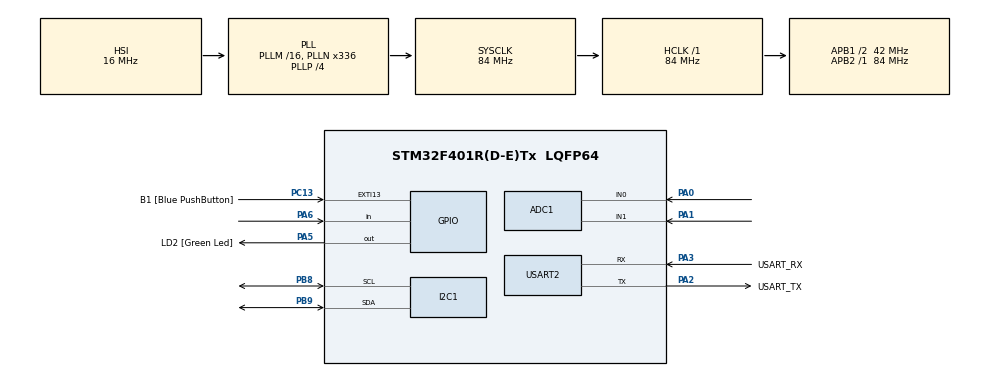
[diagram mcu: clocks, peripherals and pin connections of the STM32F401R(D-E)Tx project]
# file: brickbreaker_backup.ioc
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ADC1.Channel-0\#ChannelRegularConversion=ADC_CHANNEL_0
ADC1.Channel-2\#ChannelRegularConversion=ADC_CHANNEL_1
ADC1.ClockPrescaler=ADC_CLOCK_SYNC_PCLK_DIV8
ADC1.ContinuousConvMode=ENABLE
ADC1.DMAContinuousRequests=ENABLE
ADC1.EOCSelection=ADC_EOC_SEQ_CONV
ADC1.NbrOfConversion=2
ADC1.NbrOfConversionFlag=1
ADC1.Rank-0\#ChannelRegularConversion=1
ADC1.Rank-2\#ChannelRegularConversion=2
ADC1.SamplingTime-0\#ChannelRegularConversion=ADC_SAMPLETIME_480CYCLES
ADC1.SamplingTime-2\#ChannelRegularConversion=ADC_SAMPLETIME_480CYCLES
ADC1.ScanConvMode=ENABLE
ADC1.master=1
Dma.ADC1.0.Direction=DMA_PERIPH_TO_MEMORY
Dma.ADC1.0.FIFOMode=DMA_FIFOMODE_DISABLE
Dma.ADC1.0.Instance=DMA2_Stream0
Dma.ADC1.0.MemDataAlignment=DMA_MDATAALIGN_HALFWORD
Dma.ADC1.0.MemInc=DMA_MINC_ENABLE
Dma.ADC1.0.Mode=DMA_CIRCULAR
Dma.ADC1.0.PeriphDataAlignment=DMA_PDATAALIGN_HALFWORD
Dma.ADC1.0.PeriphInc=DMA_PINC_DISABLE
Dma.ADC1.0.Priority=DMA_PRIORITY_HIGH
Dma.Request0=ADC1
FREERTOS.Tasks01=defaultTask,24,128,StartDefaultTask,Default,NULL,Dynamic,NULL,NULL;InputTask,40,256,StartInputTask,Default,NULL,Dynamic,NULL,NULL;GameTask,24,512,StartGameTask,Default,NULL,Dynamic,NULL,NULL;RenderTask,8,512,StartLowPriorityTask,Default,NULL,Dynamic,NULL,NULL
FREERTOS.configUSE_NEWLIB_REENTRANT=1
I2C1.I2C_Mode=I2C_Fast
Mcu.Family=STM32F4
Mcu.Name=STM32F401R(D-E)Tx
Mcu.Package=LQFP64
NVIC.DMA2_Stream0_IRQn=true\:5\:0\:false\:false\:true\:true\:false\:true\:true
NVIC.PriorityGroup=NVIC_PRIORITYGROUP_4
NVIC.TIM2_IRQn=true\:15\:0\:false\:false\:true\:false\:false\:true\:true
NVIC.TimeBase=TIM2_IRQn
NVIC.TimeBaseIP=TIM2
PA0-WKUP.Signal=ADCx_IN0
PA1.Signal=ADCx_IN1
PA13.GPIO_Label=TMS
PA13.Mode=Trace_Asynchronous_SW
PA13.Signal=SYS_JTMS-SWDIO
PA14.GPIO_Label=TCK
PA14.Mode=Trace_Asynchronous_SW
PA14.Signal=SYS_JTCK-SWCLK
PA2.GPIO_Label=USART_TX
PA2.GPIO_Mode=GPIO_MODE_AF_PP
PA2.GPIO_PuPd=GPIO_NOPULL
PA2.GPIO_Speed=GPIO_SPEED_FREQ_LOW
PA2.Mode=Asynchronous
PA2.Signal=USART2_TX
PA3.GPIO_Label=USART_RX
PA3.GPIO_Mode=GPIO_MODE_AF_PP
PA3.GPIO_PuPd=GPIO_NOPULL
PA3.GPIO_Speed=GPIO_SPEED_FREQ_LOW
PA3.Mode=Asynchronous
PA3.Signal=USART2_RX
PA5.GPIO_Label=LD2 [Green Led]
PA5.GPIO_Mode=GPIO_MODE_OUTPUT_PP
PA5.GPIO_PuPd=GPIO_NOPULL
PA5.GPIO_Speed=GPIO_SPEED_FREQ_LOW
PA5.Signal=GPIO_Output
PA6.GPIO_PuPd=GPIO_PULLUP
PA6.Signal=GPIO_Input
PB3.GPIO_Label=SWO
PB3.Mode=Trace_Asynchronous_SW
PB3.Signal=SYS_JTDO-SWO
PB8.Mode=I2C
PB8.Signal=I2C1_SCL
PB9.Mode=I2C
PB9.Signal=I2C1_SDA
PC13-ANTI_TAMP.GPIO_Label=B1 [Blue PushButton]
PC13-ANTI_TAMP.GPIO_ModeDefaultEXTI=GPIO_MODE_IT_FALLING
PC13-ANTI_TAMP.GPIO_PuPd=GPIO_NOPULL
PC13-ANTI_TAMP.Signal=GPXTI13
PC14-OSC32_IN.Mode=LSE-External-Oscillator
PC14-OSC32_IN.Signal=RCC_OSC32_IN
PC15-OSC32_OUT.Mode=LSE-External-Oscillator
PC15-OSC32_OUT.Signal=RCC_OSC32_OUT
PH0\ -\ OSC_IN.Mode=HSE-External-Clock-Source
PH0\ -\ OSC_IN.Signal=RCC_OSC_IN
PH1\ -\ OSC_OUT.Mode=HSE-External-Clock-Source
PH1\ -\ OSC_OUT.Signal=RCC_OSC_OUT
ProjectManager.HeapSize=0x200
ProjectManager.StackSize=0x400
ProjectManager.TargetToolchain=STM32CubeIDE
RCC.48MHZClocksFreq_Value=48000000
RCC.AHBFreq_Value=84000000
RCC.APB1CLKDivider=RCC_HCLK_DIV2
RCC.APB1Freq_Value=42000000
RCC.APB1TimFreq_Value=84000000
RCC.APB2Freq_Value=84000000
RCC.APB2TimFreq_Value=84000000
RCC.CortexFreq_Value=84000000
RCC.HCLKFreq_Value=84000000
RCC.HSE_VALUE=8000000
RCC.HSI_VALUE=16000000
RCC.PLLN=336
RCC.PLLP=RCC_PLLP_DIV4
RCC.PLLQ=7
RCC.SYSCLKFreq_VALUE=84000000
RCC.SYSCLKSource=RCC_SYSCLKSOURCE_PLLCLK
RCC.VCOOutputFreq_Value=336000000
SH.ADCx_IN0.0=ADC1_IN0,IN0
SH.ADCx_IN1.0=ADC1_IN1,IN1
USART2.VirtualMode=VM_ASYNC
VP_FREERTOS_VS_CMSIS_V2.Mode=CMSIS_V2
VP_SYS_VS_tim2.Mode=TIM2
board=NUCLEO-F401RE

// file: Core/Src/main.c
/* USER CODE BEGIN Header */
/**
 ******************************************************************************
 * @file           : main.c
 * @brief          : Main program body
 ******************************************************************************
 * @attention
 *
 * Copyright (c) 2026 STMicroelectronics.
 * All rights reserved.
 *
 * This software is licensed under terms that can be found in the LICENSE file
 * in the root directory of this software component.
 * If no LICENSE file comes with this software, it is provided AS-IS.
 *
 ******************************************************************************
 */
/* USER CODE END Header */
#include "main.h"
#include "cmsis_os.h"

/* USER CODE BEGIN Includes */
#include "ssd1306.h"
#include "ssd1306_fonts.h"
#include "FreeRTOS.h"
#include "task.h"
#include <math.h>
#include <stdio.h>
#include "SEGGER_SYSVIEW.h"
#include "SEGGER_SYSVIEW_Conf.h"

/* USER CODE END Includes */

/* USER CODE BEGIN BRICK_TYPES */
// ---------- Bricks (HP-based, 1/2/3-hit) ----------
#define BRICK_W      14
#define BRICK_H      6
#define BRICKS_MAX   40

typedef struct {
  uint8_t alive;
  uint8_t hp;     // 1,2,3 hits
  uint8_t x, y;   // top-left
} Brick;
/* USER CODE END BRICK_TYPES */
ADC_HandleTypeDef hadc1;
DMA_HandleTypeDef hdma_adc1;

I2C_HandleTypeDef hi2c1;

UART_HandleTypeDef huart2;

/* Definitions for defaultTask */
osThreadId_t defaultTaskHandle;
const osThreadAttr_t defaultTask_attributes = { .name = "defaultTask",
		.stack_size = 128 * 4, .priority = (osPriority_t) osPriorityNormal, };
/* Definitions for InputTask */
osThreadId_t InputTaskHandle;
const osThreadAttr_t InputTask_attributes = {
    .name = "InputTask",
    .stack_size = 256 * 4,
    .priority = (osPriority_t) osPriorityHigh,
};

/* Definitions for GameTask */
osThreadId_t GameTaskHandle;
const osThreadAttr_t GameTask_attributes = {
    .name = "GameTask",
    .stack_size = 512 * 4,
    .priority = (osPriority_t) osPriorityNormal,
};

/* Definitions for RenderTask */
osThreadId_t RenderTaskHandle;
const osThreadAttr_t RenderTask_attributes = {
    .name = "RenderTask",
    .stack_size = 512 * 4,
    .priority = (osPriority_t) osPriorityLow,
};

/* Definitions for InitTask */
osThreadId_t InitTaskHandle;
const osThreadAttr_t InitTask_attributes = { .name = "InitTask", .stack_size =
		256 * 4, .priority = (osPriority_t) osPriorityHigh, };
/* Definitions for MediumPriorityT */
osThreadId_t MediumPriorityTHandle;
const osThreadAttr_t MediumPriorityT_attributes = { .name = "MediumPriorityT",
		.stack_size = 256 * 4, .priority = (osPriority_t) osPriorityNormal, };
/* Definitions for LowPriorityTask */
osThreadId_t LowPriorityTaskHandle;
const osThreadAttr_t LowPriorityTask_attributes = { .name = "LowPriorityTask",
		.stack_size = 256 * 4, .priority = (osPriority_t) osPriorityLow, };

/* USER CODE BEGIN PV */
#define DWT_CTRL (*(volatile uint32_t*)0xE0001000)

static uint16_t adc_raw[2];          // [0]=VRX(PA0), [1]=VRY(PA1)
static float joy_x_f = 2048.0f;      // filtered joystick X (0..4095)
// ---- RTOS IPC objects ----
typedef struct {
  uint16_t joy_adc_x;
  uint8_t  sw_pressed;
} InputMsg_t;

static osMessageQueueId_t inputQ;   // Queue: InputTask -> GameTask
static osSemaphoreId_t frameSem;    // Semaphore: GameTask -> RenderTask
static osMutexId_t viewMutex;       // Mutex: protect shared view/state

/* ---------- Game internal state (owned by GameTask) ---------- */
static const int MAX_LEVEL = 6;

static int g_level = 1;
static int g_lives = 5;
static int g_score = 0;

static uint8_t g_game_started = 0;

static int g_paddle_w0 = 24;     // Level 1 width
static int g_paddle_w  = 24;
static int g_paddle_x  = 0;
static const int g_paddle_h = 3;
static const int g_paddle_y = 60;

static float g_ball_x = 64.0f;
static float g_ball_y = 58.0f;
static float g_ball_vx = 0.0f;
static float g_ball_vy = 0.0f;
static uint8_t g_ball_launched = 0;

static uint8_t g_level_cleared = 0;
static uint8_t g_game_over = 0;
static uint8_t g_game_complete = 0;
static int g_final_lives = 0;

/* Ball tuning */
static const float BASE_SPEED = 1.0f;
static const float MAX_VX = 2.4f;
static const float MIN_VY = 1.0f;

/* ---------- Shared view for rendering (protected by viewMutex) ---------- */
typedef enum {
  VIEW_START = 0,
  VIEW_PLAY,
  VIEW_LEVEL_CLEAR,
  VIEW_GAME_OVER,
  VIEW_GAME_COMPLETE
} GameViewScreen_t;

typedef struct {
  GameViewScreen_t screen;

  int level;
  int lives;
  int score;

  int paddle_x;
  int paddle_w;

  float ball_x;
  float ball_y;

  Brick bricks[BRICKS_MAX];
  int bricks_count;
} GameView_t;

static GameView_t g_view;

/* USER CODE END PV */

void SystemClock_Config(void);
static void MX_GPIO_Init(void);
static void MX_DMA_Init(void);
static void MX_USART2_UART_Init(void);
static void MX_ADC1_Init(void);
static void MX_I2C1_Init(void);
void StartDefaultTask(void *argument);
void StartInitTask(void *argument);
void StartMediumPriorityTask(void *argument);
void StartLowPriorityTask(void *argument);
void StartInputTask(void *argument);
void StartGameTask(void *argument);
void StartRenderTask(void *argument);

int main(void) {

	/* MCU Configuration--------------------------------------------------------*/

	/* Reset of all peripherals, Initializes the Flash interface and the Systick. */
	HAL_Init();

	/* Configure the system clock */
	SystemClock_Config();

	/* Initialize all configured peripherals */
	MX_GPIO_Init();
	MX_DMA_Init();
	MX_USART2_UART_Init();
	MX_ADC1_Init();
	MX_I2C1_Init();
	/* USER CODE BEGIN 2 */
	SEGGER_UART_init(500000);

	CoreDebug->DEMCR |= CoreDebug_DEMCR_TRCENA_Msk;
	DWT->CYCCNT = 0;
	DWT->CTRL |= DWT_CTRL_CYCCNTENA_Msk;

	NVIC_SetPriorityGrouping(0);
	SEGGER_SYSVIEW_Conf();

	//SEGGER_SYSVIEW_Start();

	// Start ADC + DMA for joystick (2 channels: X, Y)
	HAL_ADC_Start_DMA(&hadc1, (uint32_t*)adc_raw, 2);

	// OLED boot screen (Option B)
	ssd1306_Init();
	ssd1306_Fill(Black);
	ssd1306_SetCursor(0, 0);
	ssd1306_WriteString("BOOT", Font_11x18, White);
	ssd1306_UpdateScreen();

	/* USER CODE END 2 */

	/* Init scheduler */
	osKernelInitialize();

	/* USER CODE BEGIN RTOS_MUTEX */
	viewMutex = osMutexNew(NULL);
	/* USER CODE END RTOS_MUTEX */

	/* USER CODE BEGIN RTOS_SEMAPHORES */
	frameSem = osSemaphoreNew(1, 0, NULL); // max=1, initial=0 (render waits)
	/* USER CODE END RTOS_SEMAPHORES */

	/* USER CODE BEGIN RTOS_QUEUES */
	inputQ = osMessageQueueNew(8, sizeof(InputMsg_t), NULL); // 8 msgs deep
	/* USER CODE END RTOS_QUEUES */
	if (viewMutex == NULL || frameSem == NULL || inputQ == NULL) {
	  Error_Handler();
	}

	/* Create the thread(s) */
	InputTaskHandle  = osThreadNew(StartInputTask,  NULL, &InputTask_attributes);
	GameTaskHandle   = osThreadNew(StartGameTask,   NULL, &GameTask_attributes);
	RenderTaskHandle = osThreadNew(StartRenderTask, NULL, &RenderTask_attributes);

	/* creation of InitTask */
	//InitTaskHandle = osThreadNew(StartInitTask, NULL, &InitTask_attributes);

	/* creation of MediumPriorityT */
	//MediumPriorityTHandle = osThreadNew(StartMediumPriorityTask, NULL, &MediumPriorityT_attributes);

	/* creation of LowPriorityTask */
	//LowPriorityTaskHandle = osThreadNew(StartLowPriorityTask, NULL, &LowPriorityTask_attributes);

	/* Start scheduler */
	osKernelStart();

	/* We should never get here as control is now taken by the scheduler */

	/* Infinite loop */
	while (1) {

	}
}

void SystemClock_Config(void) {
	RCC_OscInitTypeDef RCC_OscInitStruct = { 0 };
	RCC_ClkInitTypeDef RCC_ClkInitStruct = { 0 };

	/** Configure the main internal regulator output voltage
	 */
	__HAL_RCC_PWR_CLK_ENABLE();
	__HAL_PWR_VOLTAGESCALING_CONFIG(PWR_REGULATOR_VOLTAGE_SCALE2);

	/** Initializes the RCC Oscillators according to the specified parameters
	 * in the RCC_OscInitTypeDef structure.
	 */
	RCC_OscInitStruct.OscillatorType = RCC_OSCILLATORTYPE_HSI;
	RCC_OscInitStruct.HSIState = RCC_HSI_ON;
	RCC_OscInitStruct.HSICalibrationValue = RCC_HSICALIBRATION_DEFAULT;
	RCC_OscInitStruct.PLL.PLLState = RCC_PLL_ON;
	RCC_OscInitStruct.PLL.PLLSource = RCC_PLLSOURCE_HSI;
	RCC_OscInitStruct.PLL.PLLM = 16;
	RCC_OscInitStruct.PLL.PLLN = 336;
	RCC_OscInitStruct.PLL.PLLP = RCC_PLLP_DIV4;
	RCC_OscInitStruct.PLL.PLLQ = 7;
	if (HAL_RCC_OscConfig(&RCC_OscInitStruct) != HAL_OK) {
		Error_Handler();
	}

	/** Initializes the CPU, AHB and APB buses clocks
	 */
	RCC_ClkInitStruct.ClockType = RCC_CLOCKTYPE_HCLK | RCC_CLOCKTYPE_SYSCLK
			| RCC_CLOCKTYPE_PCLK1 | RCC_CLOCKTYPE_PCLK2;
	RCC_ClkInitStruct.SYSCLKSource = RCC_SYSCLKSOURCE_PLLCLK;
	RCC_ClkInitStruct.AHBCLKDivider = RCC_SYSCLK_DIV1;
	RCC_ClkInitStruct.APB1CLKDivider = RCC_HCLK_DIV2;
	RCC_ClkInitStruct.APB2CLKDivider = RCC_HCLK_DIV1;

	if (HAL_RCC_ClockConfig(&RCC_ClkInitStruct, FLASH_LATENCY_2) != HAL_OK) {
		Error_Handler();
	}
}

static void MX_ADC1_Init(void) {

	ADC_ChannelConfTypeDef sConfig = { 0 };

	/** Configure the global features of the ADC (Clock, Resolution, Data Alignment and number of conversion)
	 */
	hadc1.Instance = ADC1;
	hadc1.Init.ClockPrescaler = ADC_CLOCK_SYNC_PCLK_DIV8;
	hadc1.Init.Resolution = ADC_RESOLUTION_12B;
	hadc1.Init.ScanConvMode = ENABLE;
	hadc1.Init.ContinuousConvMode = ENABLE;
	hadc1.Init.DiscontinuousConvMode = DISABLE;
	hadc1.Init.ExternalTrigConvEdge = ADC_EXTERNALTRIGCONVEDGE_NONE;
	hadc1.Init.ExternalTrigConv = ADC_SOFTWARE_START;
	hadc1.Init.DataAlign = ADC_DATAALIGN_RIGHT;
	hadc1.Init.NbrOfConversion = 2;
	hadc1.Init.DMAContinuousRequests = ENABLE;
	hadc1.Init.EOCSelection = ADC_EOC_SEQ_CONV;
	if (HAL_ADC_Init(&hadc1) != HAL_OK) {
		Error_Handler();
	}

	/** Configure for the selected ADC regular channel its corresponding rank in the sequencer and its sample time.
	 */
	sConfig.Channel = ADC_CHANNEL_0;
	sConfig.Rank = 1;
	sConfig.SamplingTime = ADC_SAMPLETIME_480CYCLES;
	if (HAL_ADC_ConfigChannel(&hadc1, &sConfig) != HAL_OK) {
		Error_Handler();
	}

	/** Configure for the selected ADC regular channel its corresponding rank in the sequencer and its sample time.
	 */
	sConfig.Channel = ADC_CHANNEL_1;
	sConfig.Rank = 2;
	if (HAL_ADC_ConfigChannel(&hadc1, &sConfig) != HAL_OK) {
		Error_Handler();
	}

}

static void MX_I2C1_Init(void) {

	hi2c1.Instance = I2C1;
	hi2c1.Init.ClockSpeed = 400000;
	hi2c1.Init.DutyCycle = I2C_DUTYCYCLE_2;
	hi2c1.Init.OwnAddress1 = 0;
	hi2c1.Init.AddressingMode = I2C_ADDRESSINGMODE_7BIT;
	hi2c1.Init.DualAddressMode = I2C_DUALADDRESS_DISABLE;
	hi2c1.Init.OwnAddress2 = 0;
	hi2c1.Init.GeneralCallMode = I2C_GENERALCALL_DISABLE;
	hi2c1.Init.NoStretchMode = I2C_NOSTRETCH_DISABLE;
	if (HAL_I2C_Init(&hi2c1) != HAL_OK) {
		Error_Handler();
	}

}

static void MX_USART2_UART_Init(void) {

	huart2.Instance = USART2;
	huart2.Init.BaudRate = 500000;
	if (HAL_UART_Init(&huart2) != HAL_OK) {
	  Error_Handler();
	}
	huart2.Init.WordLength = UART_WORDLENGTH_8B;
	huart2.Init.StopBits = UART_STOPBITS_1;
	huart2.Init.Parity = UART_PARITY_NONE;
	huart2.Init.Mode = UART_MODE_TX_RX;
	huart2.Init.HwFlowCtl = UART_HWCONTROL_NONE;
	huart2.Init.OverSampling = UART_OVERSAMPLING_16;
	if (HAL_UART_Init(&huart2) != HAL_OK) {
		Error_Handler();
	}

}

static void MX_DMA_Init(void) {

	/* DMA controller clock enable */
	__HAL_RCC_DMA2_CLK_ENABLE();

	/* DMA interrupt init */
	/* DMA2_Stream0_IRQn interrupt configuration */
	HAL_NVIC_SetPriority(DMA2_Stream0_IRQn, 5, 0);
	HAL_NVIC_EnableIRQ(DMA2_Stream0_IRQn);

}

static void MX_GPIO_Init(void) {
	GPIO_InitTypeDef GPIO_InitStruct = { 0 };

	/* GPIO Ports Clock Enable */
	__HAL_RCC_GPIOC_CLK_ENABLE();
	__HAL_RCC_GPIOH_CLK_ENABLE();
	__HAL_RCC_GPIOA_CLK_ENABLE();
	__HAL_RCC_GPIOB_CLK_ENABLE();

	/*Configure GPIO pin Output Level */
	HAL_GPIO_WritePin(LD2_GPIO_Port, LD2_Pin, GPIO_PIN_RESET);

	/*Configure GPIO pin : B1_Pin */
	GPIO_InitStruct.Pin = B1_Pin;
	GPIO_InitStruct.Mode = GPIO_MODE_IT_FALLING;
	GPIO_InitStruct.Pull = GPIO_NOPULL;
	HAL_GPIO_Init(B1_GPIO_Port, &GPIO_InitStruct);

	/*Configure GPIO pin : LD2_Pin */
	GPIO_InitStruct.Pin = LD2_Pin;
	GPIO_InitStruct.Mode = GPIO_MODE_OUTPUT_PP;
	GPIO_InitStruct.Pull = GPIO_NOPULL;
	GPIO_InitStruct.Speed = GPIO_SPEED_FREQ_LOW;
	HAL_GPIO_Init(LD2_GPIO_Port, &GPIO_InitStruct);

	/*Configure GPIO pin : PA6 */
	GPIO_InitStruct.Pin = GPIO_PIN_6;
	GPIO_InitStruct.Mode = GPIO_MODE_INPUT;
	GPIO_InitStruct.Pull = GPIO_PULLUP;
	HAL_GPIO_Init(GPIOA, &GPIO_InitStruct);

}

/* USER CODE BEGIN 4 */

// Storage (owned/updated by GameTask)
static Brick g_bricks[BRICKS_MAX];
static int   g_bricks_count = 0;
static int   g_bricks_remaining = 0;

static void Bricks_Clear(void)
{
  for (int i = 0; i < BRICKS_MAX; i++) {
    g_bricks[i].alive = 0;
    g_bricks[i].hp = 0;
    g_bricks[i].x = 0;
    g_bricks[i].y = 0;
  }
  g_bricks_count = 0;
  g_bricks_remaining = 0;
}

static void Bricks_Add(uint8_t x, uint8_t y, uint8_t hp)
{
  if (g_bricks_count >= BRICKS_MAX) return;
  g_bricks[g_bricks_count].alive = 1;
  g_bricks[g_bricks_count].hp = hp;
  g_bricks[g_bricks_count].x = x;
  g_bricks[g_bricks_count].y = y;
  g_bricks_count++;
  g_bricks_remaining++;
}

static void Bricks_GridAdd(int col, int row, int x0, int y0, int dx, int dy, uint8_t hp)
{
  uint8_t x = (uint8_t)(x0 + col * dx);
  uint8_t y = (uint8_t)(y0 + row * dy);
  Bricks_Add(x, y, hp);
}

static void Bricks_LoadLevel(int lvl)
{
  Bricks_Clear();

  // Common spacing matching your patterns
  const int dx = BRICK_W + 3;
  const int dy = BRICK_H + 2;
  const int y0 = 16; // leave HUD space

  if (lvl == 1)
  {
    int xL = 14;
    Bricks_GridAdd(0,0,xL,y0,dx,dy,1); Bricks_GridAdd(1,0,xL,y0,dx,dy,1);
    Bricks_GridAdd(0,1,xL,y0,dx,dy,1); Bricks_GridAdd(1,1,xL,y0,dx,dy,1);
    Bricks_GridAdd(0,2,xL,y0,dx,dy,1);

    int xR = 128 - xL - (2*BRICK_W + 1*3);
    Bricks_GridAdd(0,0,xR,y0,dx,dy,1); Bricks_GridAdd(1,0,xR,y0,dx,dy,1);
    Bricks_GridAdd(0,1,xR,y0,dx,dy,1); Bricks_GridAdd(1,1,xR,y0,dx,dy,1);
    Bricks_GridAdd(1,2,xR,y0,dx,dy,1);

    Bricks_Add(58, (uint8_t)(y0 + dy), 1);
  }
  else if (lvl == 2)
  {
    Bricks_Add(56, (uint8_t)(y0 + 0*dy), 1);

    Bricks_Add(56, (uint8_t)(y0 + 1*dy), 1);
    Bricks_Add(56, (uint8_t)(y0 + 2*dy), 2);
    Bricks_Add(56, (uint8_t)(y0 + 3*dy), 1);

    Bricks_Add(40, (uint8_t)(y0 + 1*dy), 1);
    Bricks_Add(72, (uint8_t)(y0 + 1*dy), 1);
    Bricks_Add(24, (uint8_t)(y0 + 2*dy), 1);
    Bricks_Add(88, (uint8_t)(y0 + 2*dy), 1);

    Bricks_Add(40, (uint8_t)(y0 + 3*dy), 1);
    Bricks_Add(72, (uint8_t)(y0 + 3*dy), 1);
  }
  else if (lvl == 3)
  {
    int x0bar = 8;
    for (int i = 0; i < 7; i++) {
      uint8_t hp = (i == 3) ? 2 : 1;
      Bricks_Add((uint8_t)(x0bar + i*(BRICK_W+3)), (uint8_t)(y0 + 0*dy), hp);
    }

    int xL = 12;
    Bricks_GridAdd(0,1,xL,y0,dx,dy,1); Bricks_GridAdd(1,1,xL,y0,dx,dy,1);
    Bricks_GridAdd(0,2,xL,y0,dx,dy,2); Bricks_GridAdd(1,2,xL,y0,dx,dy,1);
    Bricks_GridAdd(0,3,xL,y0,dx,dy,1); Bricks_GridAdd(1,3,xL,y0,dx,dy,1);

    int xR = 128 - xL - (2*BRICK_W + 3);
    Bricks_GridAdd(0,1,xR,y0,dx,dy,1); Bricks_GridAdd(1,1,xR,y0,dx,dy,1);
    Bricks_GridAdd(0,2,xR,y0,dx,dy,1); Bricks_GridAdd(1,2,xR,y0,dx,dy,2);
    Bricks_GridAdd(0,3,xR,y0,dx,dy,1); Bricks_GridAdd(1,3,xR,y0,dx,dy,1);
  }
  else if (lvl == 4)
  {
    int xL = 10;
    for (int r = 0; r < 4; r++) {
      Bricks_GridAdd(0,r,xL,y0,dx,dy, (r==2)?2:1);
      Bricks_GridAdd(1,r,xL,y0,dx,dy, 1);
    }

    int xR = 128 - xL - (2*BRICK_W + 3);
    for (int r = 0; r < 4; r++) {
      Bricks_GridAdd(0,r,xR,y0,dx,dy, 1);
      Bricks_GridAdd(1,r,xR,y0,dx,dy, (r==0)?2:1);
    }

    Bricks_Add(56, (uint8_t)(y0 + 1*dy), 1);
    Bricks_Add(40, (uint8_t)(y0 + 2*dy), 1);
    Bricks_Add(72, (uint8_t)(y0 + 2*dy), 1);
    Bricks_Add(56, (uint8_t)(y0 + 3*dy), 1);

    Bricks_Add(56, (uint8_t)(y0 + 0*dy), 2);
    Bricks_Add(56, (uint8_t)(y0 + 4*dy), 2);
  }
  else if (lvl == 5)
  {
    int xb = 8;
    int yb = y0 + 5*dy;
    for (int i = 0; i < 7; i++) Bricks_Add((uint8_t)(xb + i*(BRICK_W+3)), (uint8_t)yb, 1);

    Bricks_Add(56, (uint8_t)(y0 + 3*dy), 3);

    Bricks_Add(16, (uint8_t)(y0 + 0*dy), 2);
    Bricks_Add(24, (uint8_t)(y0 + 1*dy), 2);
    Bricks_Add(32, (uint8_t)(y0 + 2*dy), 2);

    Bricks_Add(56, (uint8_t)(y0 + 1*dy), 1);
    Bricks_Add(40, (uint8_t)(y0 + 2*dy), 1);
    Bricks_Add(72, (uint8_t)(y0 + 2*dy), 1);

    Bricks_Add(96, (uint8_t)(y0 + 1*dy), 2);
    Bricks_Add(88, (uint8_t)(y0 + 3*dy), 2);

    Bricks_Add(112, (uint8_t)(y0 + 0*dy), 1);
  }
  else /* lvl == 6 */
  {
    int xL = 10;
    Bricks_GridAdd(0,0,xL,y0,dx,dy,1); Bricks_GridAdd(1,0,xL,y0,dx,dy,1);
    Bricks_GridAdd(0,1,xL,y0,dx,dy,1); Bricks_GridAdd(1,1,xL,y0,dx,dy,3);
    Bricks_GridAdd(0,2,xL,y0,dx,dy,1); Bricks_GridAdd(1,2,xL,y0,dx,dy,1);

    Bricks_Add(48, (uint8_t)(y0 + 0*dy), 3);
    Bricks_Add(64, (uint8_t)(y0 + 0*dy), 2);
    Bricks_Add(56, (uint8_t)(y0 + 1*dy), 3);
    Bricks_Add(72, (uint8_t)(y0 + 2*dy), 3);
    Bricks_Add(56, (uint8_t)(y0 + 2*dy), 1);

    int xR = 128 - xL - (2*BRICK_W + 3);
    Bricks_GridAdd(0,1,xR,y0,dx,dy,1); Bricks_GridAdd(1,1,xR,y0,dx,dy,1);
    Bricks_GridAdd(0,2,xR,y0,dx,dy,1); Bricks_GridAdd(1,2,xR,y0,dx,dy,1);
  }
}

// returns 1 if a brick was hit this frame (also applies damage + scoring)
// NOTE: needs access to g_ball_vy and score, so we will handle scoring in GameTask.
// For now, just damage and report hit.
static int Bricks_HitAt(float bx, float by)
{
  for (int i = 0; i < g_bricks_count; i++)
  {
    Brick *b = &g_bricks[i];
    if (!b->alive) continue;

    if (bx >= b->x && bx <= (b->x + BRICK_W) &&
        by >= b->y && by <= (b->y + BRICK_H))
    {
      if (b->hp > 0) b->hp--;
      if (b->hp == 0) {
        b->alive = 0;
        g_bricks_remaining--;
      }
      return 1;
    }
  }
  return 0;
}

static void Bricks_DrawFromSnapshot(const Brick *br, int count)
{
  for (int i = 0; i < count; i++)
  {
    const Brick *b = &br[i];
    if (!b->alive) continue;

    ssd1306_FillRectangle(b->x, b->y, b->x + BRICK_W, b->y + BRICK_H, White);

    if (b->hp == 2) {
      ssd1306_Line(b->x, b->y + (BRICK_H/2), b->x + BRICK_W, b->y + (BRICK_H/2), Black);
    } else if (b->hp >= 3) {
      ssd1306_Line(b->x, b->y + 1,           b->x + BRICK_W, b->y + 1,           Black);
      ssd1306_Line(b->x, b->y + (BRICK_H-2), b->x + BRICK_W, b->y + (BRICK_H-2), Black);
    }
  }
}

static int clampi(int v, int lo, int hi) { return (v < lo) ? lo : (v > hi) ? hi : v; }

static void Paddle_ApplyLevel(int lvl)
{
  float scale = 1.0f;
  for (int i = 1; i < lvl; i++) scale *= 0.9f;

  g_paddle_w = (int)(g_paddle_w0 * scale);
  if (g_paddle_w < 10) g_paddle_w = 10;

  g_paddle_x = clampi(g_paddle_x, 0, 127 - g_paddle_w);
}

/* USER CODE END 4 */

void StartDefaultTask(void *argument)
{
  /* USER CODE BEGIN 5 */
  for(;;) { osDelay(1000); }
  /* USER CODE END 5 */
}
void StartInputTask(void *argument)
{
  uint8_t prev_sw = 1;

  for (;;)
  {
    // Joystick X filtering (ADC DMA already running)
    float x = (float)adc_raw[0];
    joy_x_f = 0.8f * joy_x_f + 0.2f * x;

    // Button PA6 (pull-up). sw=1 not pressed, sw=0 pressed
    uint8_t sw = (HAL_GPIO_ReadPin(GPIOA, GPIO_PIN_6) == GPIO_PIN_SET) ? 1 : 0;
    uint8_t pressed = (prev_sw == 1 && sw == 0) ? 1 : 0;
    prev_sw = sw;

    InputMsg_t msg;
    msg.joy_adc_x  = (uint16_t)joy_x_f;  // 0..4095
    msg.sw_pressed = pressed;

    (void)osMessageQueuePut(inputQ, &msg, 0, 0);

    osDelay(5); // ~200 Hz input sampling
  }
}

void StartGameTask(void *argument)
{
  // Fixed tick: 16 ms (~60 Hz)
  uint32_t next = osKernelGetTickCount();

  // Local latest input (drain queue)
  InputMsg_t in;
  uint16_t latest_adc_x = 2048;
  uint8_t  sw_edge = 0;

  // Init game state
  g_level = 1;
  g_lives = 5;
  g_score = 0;
  g_game_over = 0;
  g_game_complete = 0;
  g_final_lives = 0;

  g_ball_launched = 0;
  g_level_cleared = 0;

  g_paddle_x = 0;
  Paddle_ApplyLevel(g_level);
  g_paddle_x = (127 - g_paddle_w) / 2;

  g_ball_x = 64.0f;
  g_ball_y = (float)(g_paddle_y - 2);
  g_ball_vx = 0.0f;
  g_ball_vy = 0.0f;

  Bricks_LoadLevel(g_level);

  for (;;)
  {
    next += 16;
    osDelayUntil(next);

    // ---- Read latest input from queue (drain, keep last) ----
    sw_edge = 0;
    while (osMessageQueueGet(inputQ, &in, NULL, 0) == osOK) {
      latest_adc_x = in.joy_adc_x;
      if (in.sw_pressed) sw_edge = 1; // any press since last tick
    }

    // ---- Map joystick ADC to paddle X using current paddle width ----
    // map 0..4095 -> 0..(127 - g_paddle_w)
    int max_x = 127 - g_paddle_w;
    if (max_x < 0) max_x = 0;
    g_paddle_x = (int)((latest_adc_x / 4095.0f) * (float)max_x);
    g_paddle_x = clampi(g_paddle_x, 0, max_x);

    // ---- Handle SW press ----
    if (sw_edge)
    {
      if (g_game_over)
      {
        // Restart whole game
        g_level = 1;
        g_lives = 5;
        g_score = 0;
        g_game_started = 0;
        g_game_over = 0;
        g_game_complete = 0;
        g_final_lives = 0;

        g_level_cleared = 0;
        g_ball_launched = 0;
        g_ball_vx = 0.0f;
        g_ball_vy = 0.0f;

        Paddle_ApplyLevel(g_level);
        g_paddle_x = (127 - g_paddle_w) / 2;

        Bricks_LoadLevel(g_level);
      }
      else if (g_level_cleared)
      {
        if (g_level >= MAX_LEVEL)
        {
          // Finish final level -> final screen
          g_game_over = 1;
          g_game_complete = 1;
          g_final_lives = g_lives;
        }
        else
        {
          // Next level
          g_level++;
          g_level_cleared = 0;

          Paddle_ApplyLevel(g_level);
          g_paddle_x = clampi(g_paddle_x, 0, 127 - g_paddle_w);

          Bricks_LoadLevel(g_level);

          // Reset ball
          g_ball_launched = 0;
          g_ball_vx = 0.0f;
          g_ball_vy = 0.0f;
          g_ball_x = (float)g_paddle_x + (g_paddle_w * 0.5f);
          g_ball_y = (float)(g_paddle_y - 2);
        }
      }
      else if (!g_game_started)
      {
        g_game_started = 1;
        g_ball_launched = 0;
      }
      else if (!g_ball_launched)
      {
        // launch ball
        g_ball_launched = 1;

        float paddle_center = (float)g_paddle_x + (g_paddle_w * 0.5f);
        float offset = (g_ball_x - paddle_center) / (g_paddle_w * 0.5f);
        if (offset < -1.0f) offset = -1.0f;
        if (offset >  1.0f) offset =  1.0f;

        g_ball_vx = BASE_SPEED * offset;
        g_ball_vy = -BASE_SPEED;
      }
    }

    // ---- Ball follows paddle if not launched ----
    if (!g_ball_launched)
    {
      g_ball_x = (float)g_paddle_x + (g_paddle_w * 0.5f);
      g_ball_y = (float)(g_paddle_y - 2);
    }
    else if (!g_game_over && !g_level_cleared)
    {
      // ---- Physics update ----
      g_ball_x += g_ball_vx;
      g_ball_y += g_ball_vy;

      // Walls
      if (g_ball_x < 1.0f)   { g_ball_x = 1.0f;   g_ball_vx = -g_ball_vx; }
      if (g_ball_x > 126.0f) { g_ball_x = 126.0f; g_ball_vx = -g_ball_vx; }
      if (g_ball_y < 1.0f)   { g_ball_y = 1.0f;   g_ball_vy = -g_ball_vy; }

      // ---- Bricks (ONLY ONCE per tick) ----
      int before = g_bricks_remaining;
      if (Bricks_HitAt(g_ball_x, g_ball_y))
      {
        g_ball_vy = -g_ball_vy;

        if (g_bricks_remaining < before) {
          // brick destroyed (this hit)
          g_score += 10;
        } else {
          // brick damaged (still alive)
          g_score += 5;
        }
      }

      // Level cleared?
      if (g_bricks_remaining <= 0)
      {
        g_level_cleared = 1;
        g_ball_launched = 0;
        g_ball_vx = 0.0f;
        g_ball_vy = 0.0f;
      }

      // Paddle collision (only when ball moving down)
      if (g_ball_vy > 0.0f)
      {
        float px1 = (float)g_paddle_x;
        float px2 = (float)(g_paddle_x + g_paddle_w);
        float py1 = (float)g_paddle_y;

        if (g_ball_y >= (py1 - 1.0f) && g_ball_y <= (py1 + 2.0f) &&
            g_ball_x >= px1 && g_ball_x <= px2)
        {
          float paddle_center = (px1 + px2) * 0.5f;
          float hit = (g_ball_x - paddle_center) / (g_paddle_w * 0.5f);
          if (hit < -1.0f) hit = -1.0f;
          if (hit >  1.0f) hit =  1.0f;

          g_ball_vy = -fabsf(g_ball_vy);
          if (-g_ball_vy < MIN_VY) g_ball_vy = -MIN_VY;

          g_ball_vx = BASE_SPEED * 1.2f * hit;
          if (g_ball_vx >  MAX_VX) g_ball_vx =  MAX_VX;
          if (g_ball_vx < -MAX_VX) g_ball_vx = -MAX_VX;

          g_ball_y = py1 - 2.0f;
        }
      }

      // Miss / lose life
      if (g_ball_y > 63.0f)
      {
        g_lives--;
        g_ball_launched = 0;
        g_ball_vx = 0.0f;
        g_ball_vy = 0.0f;

        if (g_lives <= 0)
        {
          g_game_over = 1;
          g_level_cleared = 0;
          g_game_complete = 0;
        }
      }
    }

    // ---- Update shared view snapshot under mutex ----
    osMutexAcquire(viewMutex, osWaitForever);

    if (g_game_over)
    {
      g_view.screen = g_game_complete ? VIEW_GAME_COMPLETE : VIEW_GAME_OVER;
      g_view.level  = g_level;
      g_view.lives  = g_game_complete ? g_final_lives : 0;
      g_view.score  = g_score;
      g_view.paddle_x = g_paddle_x;
      g_view.paddle_w = g_paddle_w;
      g_view.ball_x = g_ball_x;
      g_view.ball_y = g_ball_y;
      g_view.bricks_count = 0; // don't draw bricks on end screens
    }
    else if (g_level_cleared)
    {
      g_view.screen = VIEW_LEVEL_CLEAR;
      g_view.level  = g_level;
      g_view.lives  = g_lives;
      g_view.score  = g_score;
      g_view.paddle_x = g_paddle_x;
      g_view.paddle_w = g_paddle_w;
      g_view.ball_x = g_ball_x;
      g_view.ball_y = g_ball_y;

      // optional: don't draw bricks on level clear screen
      g_view.bricks_count = 0;
    }
    else if (!g_game_started)
    {
      g_view.screen = VIEW_START;
    }
    else
    {
      g_view.screen = VIEW_PLAY;

      g_view.level  = g_level;
      g_view.lives  = g_lives;
      g_view.score  = g_score;

      g_view.paddle_x = g_paddle_x;
      g_view.paddle_w = g_paddle_w;

      g_view.ball_x = g_ball_x;
      g_view.ball_y = g_ball_y;

      // Copy bricks snapshot for render
      g_view.bricks_count = g_bricks_count;
      for (int i = 0; i < g_bricks_count; i++) {
        g_view.bricks[i] = g_bricks[i];
      }
    }

    osMutexRelease(viewMutex);

    // Wake render task
    osSemaphoreRelease(frameSem);
  }
}

void StartRenderTask(void *argument)
{
  GameView_t v; // local snapshot

  for (;;)
  {
    osSemaphoreAcquire(frameSem, osWaitForever);

    // Copy snapshot under mutex (short lock)
    osMutexAcquire(viewMutex, osWaitForever);
    v = g_view;
    osMutexRelease(viewMutex);

    // ---- Render based on snapshot ----
    ssd1306_Fill(Black);

    if (v.screen == VIEW_START)
    {
      ssd1306_SetCursor(10, 10);
      ssd1306_WriteString("BRICK BREAKER", Font_7x10, White);

      ssd1306_SetCursor(20, 36);
      ssd1306_WriteString("SW to start", Font_6x8, White);
    }

    else if (v.screen == VIEW_GAME_OVER)
    {
      ssd1306_SetCursor(0, 0);
      ssd1306_WriteString("GAME OVER", Font_11x18, White);

      char buf[32];
      ssd1306_SetCursor(0, 24);
      snprintf(buf, sizeof(buf), "Score: %d", v.score);
      ssd1306_WriteString(buf, Font_6x8, White);

      ssd1306_SetCursor(0, 34);
      ssd1306_WriteString("SW=Restart", Font_6x8, White);
    }
    else if (v.screen == VIEW_GAME_COMPLETE)
    {
      ssd1306_SetCursor(0, 0);
      ssd1306_WriteString("COMPLETE!", Font_11x18, White);

      char buf[32];
      ssd1306_SetCursor(0, 24);
      snprintf(buf, sizeof(buf), "Score: %d", v.score);
      ssd1306_WriteString(buf, Font_6x8, White);

      ssd1306_SetCursor(0, 34);
      snprintf(buf, sizeof(buf), "Lives: %d", v.lives);
      ssd1306_WriteString(buf, Font_6x8, White);

      ssd1306_SetCursor(0, 44);
      ssd1306_WriteString("SW=Restart", Font_6x8, White);
    }
    else if (v.screen == VIEW_LEVEL_CLEAR)
    {
      char buf[32];
      ssd1306_SetCursor(0, 0);
      snprintf(buf, sizeof(buf), "LEVEL %d CLEAR", v.level);
      ssd1306_WriteString(buf, Font_6x8, White);

      ssd1306_SetCursor(0, 12);
      if (v.level >= MAX_LEVEL) ssd1306_WriteString("SW=Finish", Font_6x8, White);
      else                     ssd1306_WriteString("SW=Next", Font_6x8, White);

      ssd1306_SetCursor(0, 24);
      snprintf(buf, sizeof(buf), "Score: %d", v.score);
      ssd1306_WriteString(buf, Font_6x8, White);
    }
    else
    {
      // HUD
      char hud[32];
      ssd1306_SetCursor(0, 0);
      snprintf(hud, sizeof(hud), "Lv:%d L:%d S:%d", v.level, v.lives, v.score);
      ssd1306_WriteString(hud, Font_6x8, White);

      // Bricks (from snapshot)
      Bricks_DrawFromSnapshot(v.bricks, v.bricks_count);

      // Paddle
      ssd1306_FillRectangle((uint8_t)v.paddle_x,
                            (uint8_t)g_paddle_y,
                            (uint8_t)(v.paddle_x + v.paddle_w),
                            (uint8_t)(g_paddle_y + g_paddle_h),
                            White);

      // Ball
      ssd1306_DrawPixel((uint8_t)v.ball_x, (uint8_t)v.ball_y, White);
    }

    ssd1306_UpdateScreen();
  }
}

void StartInitTask(void *argument) {
	for (;;) {
		osDelay(1);
	}
}

void StartMediumPriorityTask(void *argument) {
	for (;;) {
		osDelay(1);
	}
}

void StartLowPriorityTask(void *argument) {
	for (;;) {
		osDelay(1);
	}
}

void HAL_TIM_PeriodElapsedCallback(TIM_HandleTypeDef *htim) {
	if (htim->Instance == TIM2) {
		HAL_IncTick();
	}
}

void Error_Handler(void) {
	__disable_irq();
	while (1) {
	}
}
